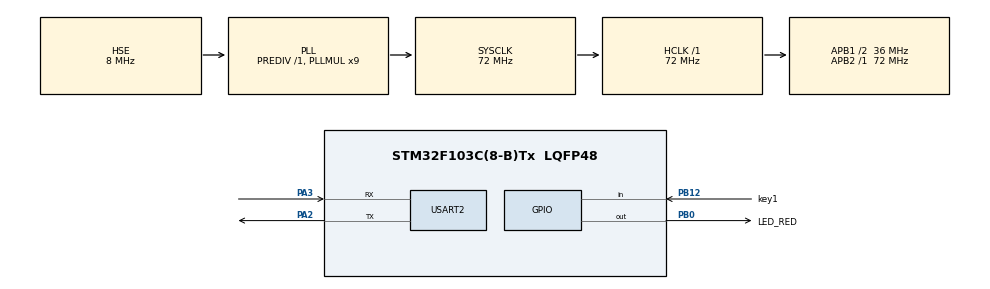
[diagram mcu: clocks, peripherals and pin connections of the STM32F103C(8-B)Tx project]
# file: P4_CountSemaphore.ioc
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FREERTOS.BinarySemaphores01=SerialSem,Dynamic,NULL,Available
FREERTOS.CountingSemaphores01=LaunchSem,10,Dynamic,NULL,0;CryptoICSem,3,Dynamic,NULL,3
FREERTOS.Tasks01=BtnTask,24,128,StartBtnTask,Default,NULL,Dynamic,NULL,NULL;LaunchTask,8,128,StartLaunchTask,Default,NULL,Dynamic,NULL,NULL;myTask03,8,128,StartTask03,Default,NULL,Dynamic,NULL,NULL;myTask04,8,128,StartTask04,Default,NULL,Dynamic,NULL,NULL;myTask05,8,128,StartTask05,Default,NULL,Dynamic,NULL,NULL
FREERTOS.configTOTAL_HEAP_SIZE=10240
Mcu.Family=STM32F1
Mcu.Name=STM32F103C(8-B)Tx
Mcu.Package=LQFP48
NVIC.PriorityGroup=NVIC_PRIORITYGROUP_4
NVIC.TIM4_IRQn=true\:15\:0\:false\:false\:true\:false\:false\:true\:true
NVIC.TimeBase=TIM4_IRQn
NVIC.TimeBaseIP=TIM4
PA13.Mode=Serial_Wire
PA13.Signal=SYS_JTMS-SWDIO
PA14.Mode=Serial_Wire
PA14.Signal=SYS_JTCK-SWCLK
PA2.Mode=Asynchronous
PA2.Signal=USART2_TX
PA3.Mode=Asynchronous
PA3.Signal=USART2_RX
PB0.GPIO_Label=LED_RED
PB0.Signal=GPIO_Output
PB12.GPIO_Label=key1
PB12.Signal=GPIO_Input
PD0-OSC_IN.Mode=HSE-External-Oscillator
PD0-OSC_IN.Signal=RCC_OSC_IN
PD1-OSC_OUT.Mode=HSE-External-Oscillator
PD1-OSC_OUT.Signal=RCC_OSC_OUT
ProjectManager.HeapSize=0x200
ProjectManager.StackSize=0x400
ProjectManager.TargetToolchain=CMake
RCC.AHBFreq_Value=72000000
RCC.APB1CLKDivider=RCC_HCLK_DIV2
RCC.APB1Freq_Value=36000000
RCC.APB1TimFreq_Value=72000000
RCC.APB2Freq_Value=72000000
RCC.APB2TimFreq_Value=72000000
RCC.HCLKFreq_Value=72000000
RCC.PLLMUL=RCC_PLL_MUL9
RCC.PLLSourceVirtual=RCC_PLLSOURCE_HSE
RCC.SYSCLKFreq_VALUE=72000000
RCC.SYSCLKSource=RCC_SYSCLKSOURCE_PLLCLK
RCC.USBFreq_Value=72000000
USART2.VirtualMode=VM_ASYNC
VP_FREERTOS_VS_CMSIS_V2.Mode=CMSIS_V2
VP_SYS_VS_tim4.Mode=TIM4
board=custom

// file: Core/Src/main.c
/* USER CODE BEGIN Header */
/**
  ******************************************************************************
  * @file           : main.c
  * @brief          : Main program body
  ******************************************************************************
  * @attention
  *
  * Copyright (c) 2026 STMicroelectronics.
  * All rights reserved.
  *
  * This software is licensed under terms that can be found in the LICENSE file
  * in the root directory of this software component.
  * If no LICENSE file comes with this software, it is provided AS-IS.
  *
  ******************************************************************************
  */
/* USER CODE END Header */
#include "main.h"
#include "cmsis_os.h"
#include "usart.h"
#include "gpio.h"

void SystemClock_Config(void);
void MX_FREERTOS_Init(void);

int main(void)
{

  /* MCU Configuration--------------------------------------------------------*/

  /* Reset of all peripherals, Initializes the Flash interface and the Systick. */
  HAL_Init();

  /* Configure the system clock */
  SystemClock_Config();

  /* Initialize all configured peripherals */
  MX_GPIO_Init();
  MX_USART2_UART_Init();

  /* Init scheduler */
  osKernelInitialize();  /* Call init function for freertos objects (in cmsis_os2.c) */
  MX_FREERTOS_Init();

  /* Start scheduler */
  osKernelStart();

  /* We should never get here as control is now taken by the scheduler */

  /* Infinite loop */
  while (1)
  {

  }
}

void SystemClock_Config(void)
{
  RCC_OscInitTypeDef RCC_OscInitStruct = {0};
  RCC_ClkInitTypeDef RCC_ClkInitStruct = {0};

  /** Initializes the RCC Oscillators according to the specified parameters
  * in the RCC_OscInitTypeDef structure.
  */
  RCC_OscInitStruct.OscillatorType = RCC_OSCILLATORTYPE_HSE;
  RCC_OscInitStruct.HSEState = RCC_HSE_ON;
  RCC_OscInitStruct.HSEPredivValue = RCC_HSE_PREDIV_DIV1;
  RCC_OscInitStruct.HSIState = RCC_HSI_ON;
  RCC_OscInitStruct.PLL.PLLState = RCC_PLL_ON;
  RCC_OscInitStruct.PLL.PLLSource = RCC_PLLSOURCE_HSE;
  RCC_OscInitStruct.PLL.PLLMUL = RCC_PLL_MUL9;
  if (HAL_RCC_OscConfig(&RCC_OscInitStruct) != HAL_OK)
  {
    Error_Handler();
  }

  /** Initializes the CPU, AHB and APB buses clocks
  */
  RCC_ClkInitStruct.ClockType = RCC_CLOCKTYPE_HCLK|RCC_CLOCKTYPE_SYSCLK
                              |RCC_CLOCKTYPE_PCLK1|RCC_CLOCKTYPE_PCLK2;
  RCC_ClkInitStruct.SYSCLKSource = RCC_SYSCLKSOURCE_PLLCLK;
  RCC_ClkInitStruct.AHBCLKDivider = RCC_SYSCLK_DIV1;
  RCC_ClkInitStruct.APB1CLKDivider = RCC_HCLK_DIV2;
  RCC_ClkInitStruct.APB2CLKDivider = RCC_HCLK_DIV1;

  if (HAL_RCC_ClockConfig(&RCC_ClkInitStruct, FLASH_LATENCY_2) != HAL_OK)
  {
    Error_Handler();
  }
}

void HAL_TIM_PeriodElapsedCallback(TIM_HandleTypeDef *htim)
{
  if (htim->Instance == TIM4)
  {
    HAL_IncTick();
  }
}

void Error_Handler(void)
{
  __disable_irq();
  while (1)
  {
  }
}

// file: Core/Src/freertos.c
/* USER CODE BEGIN Header */
/**
  ******************************************************************************
  * File Name          : freertos.c
  * Description        : Code for freertos applications
  ******************************************************************************
  * @attention
  *
  * Copyright (c) 2026 STMicroelectronics.
  * All rights reserved.
  *
  * This software is licensed under terms that can be found in the LICENSE file
  * in the root directory of this software component.
  * If no LICENSE file comes with this software, it is provided AS-IS.
  *
  ******************************************************************************
  */
/* USER CODE END Header */

#include "FreeRTOS.h"
#include "task.h"
#include "main.h"
#include "cmsis_os.h"

/* USER CODE BEGIN Includes */
#include <stdio.h>
#include <string.h>
#include "usart.h"
/* USER CODE END Includes */

/* Definitions for BtnTask */
osThreadId_t BtnTaskHandle;
const osThreadAttr_t BtnTask_attributes = {
  .name = "BtnTask",
  .stack_size = 128 * 4,
  .priority = (osPriority_t) osPriorityNormal,
};
/* Definitions for LaunchTask */
osThreadId_t LaunchTaskHandle;
const osThreadAttr_t LaunchTask_attributes = {
  .name = "LaunchTask",
  .stack_size = 128 * 4,
  .priority = (osPriority_t) osPriorityLow,
};
/* Definitions for myTask03 */
osThreadId_t myTask03Handle;
const osThreadAttr_t myTask03_attributes = {
  .name = "myTask03",
  .stack_size = 128 * 4,
  .priority = (osPriority_t) osPriorityLow,
};
/* Definitions for myTask04 */
osThreadId_t myTask04Handle;
const osThreadAttr_t myTask04_attributes = {
  .name = "myTask04",
  .stack_size = 128 * 4,
  .priority = (osPriority_t) osPriorityLow,
};
/* Definitions for myTask05 */
osThreadId_t myTask05Handle;
const osThreadAttr_t myTask05_attributes = {
  .name = "myTask05",
  .stack_size = 128 * 4,
  .priority = (osPriority_t) osPriorityLow,
};
/* Definitions for SerialSem */
osSemaphoreId_t SerialSemHandle;
const osSemaphoreAttr_t SerialSem_attributes = {
  .name = "SerialSem"
};
/* Definitions for LaunchSem */
osSemaphoreId_t LaunchSemHandle;
const osSemaphoreAttr_t LaunchSem_attributes = {
  .name = "LaunchSem"
};
/* Definitions for CryptoICSem */
osSemaphoreId_t CryptoICSemHandle;
const osSemaphoreAttr_t CryptoICSem_attributes = {
  .name = "CryptoICSem"
};

void StartBtnTask(void *argument);
void StartLaunchTask(void *argument);
void StartTask03(void *argument);
void StartTask04(void *argument);
void StartTask05(void *argument);

void MX_FREERTOS_Init(void); /* (MISRA C 2004 rule 8.1) */

void MX_FREERTOS_Init(void) {

  /* Create the semaphores(s) */
  /* creation of SerialSem */
  SerialSemHandle = osSemaphoreNew(1, 1, &SerialSem_attributes);

  /* creation of LaunchSem */
  LaunchSemHandle = osSemaphoreNew(10, 0, &LaunchSem_attributes);

  /* creation of CryptoICSem */
  CryptoICSemHandle = osSemaphoreNew(3, 3, &CryptoICSem_attributes);

  /* Create the thread(s) */
  /* creation of BtnTask */
  BtnTaskHandle = osThreadNew(StartBtnTask, NULL, &BtnTask_attributes);

  /* creation of LaunchTask */
  LaunchTaskHandle = osThreadNew(StartLaunchTask, NULL, &LaunchTask_attributes);

  /* creation of myTask03 */
  myTask03Handle = osThreadNew(StartTask03, NULL, &myTask03_attributes);

  /* creation of myTask04 */
  myTask04Handle = osThreadNew(StartTask04, NULL, &myTask04_attributes);

  /* creation of myTask05 */
  myTask05Handle = osThreadNew(StartTask05, NULL, &myTask05_attributes);

}

void StartBtnTask(void *argument)
{
  /* USER CODE BEGIN StartBtnTask */
  int count = 0;
  char msg[50];
  /* Infinite loop */
  for(;;)
  {
    if (HAL_GPIO_ReadPin(key1_GPIO_Port, key1_Pin) == GPIO_PIN_RESET) {
      osDelay(10);
      if (HAL_GPIO_ReadPin(key1_GPIO_Port, key1_Pin) == GPIO_PIN_RESET) {
        count++;
        sprintf(msg, "按键 %d 次", count);
        HAL_UART_Transmit(&huart2, (uint8_t *)msg, strlen(msg), 1000);

        osSemaphoreRelease(LaunchSemHandle);

        while (HAL_GPIO_ReadPin(key1_GPIO_Port, key1_Pin) == GPIO_PIN_RESET) {}
      }
    }
    osDelay(10);
  }
  /* USER CODE END StartBtnTask */
}

void StartLaunchTask(void *argument)
{
  /* USER CODE BEGIN StartLaunchTask */
  int count = 0;
  char msg[50];
  /* Infinite loop */
  for(;;)
  {
    osSemaphoreAcquire(LaunchSemHandle, osWaitForever);

    count++;
    sprintf(msg, "开始发射第 %d 枚导弹", count);
    HAL_UART_Transmit(&huart2, (uint8_t *)msg, strlen(msg), 1000);

    osSemaphoreAcquire(CryptoICSemHandle, osWaitForever);

    sprintf(msg, "导弹发射任务获取到加密IC");
    osSemaphoreAcquire(SerialSemHandle, osWaitForever);
    HAL_UART_Transmit(&huart2, (uint8_t *)msg, strlen(msg), 1000);
    osSemaphoreRelease(SerialSemHandle);

    HAL_GPIO_WritePin(LED_RED_GPIO_Port, LED_RED_Pin, GPIO_PIN_SET);
    osDelay(2000);
    HAL_GPIO_WritePin(LED_RED_GPIO_Port, LED_RED_Pin, GPIO_PIN_RESET);

    osSemaphoreRelease(CryptoICSemHandle);
  }
  /* USER CODE END StartLaunchTask */
}

void StartTask03(void *argument)
{
  /* USER CODE BEGIN StartTask03 */
  uint32_t count = 0;
  char msg[50];
  /* Infinite loop */
  for(;;)
  {
    osDelay(1000);
    osSemaphoreAcquire(CryptoICSemHandle, osWaitForever);

    count = osSemaphoreGetCount(CryptoICSemHandle);
    sprintf(msg, "任务03获取到加密IC ( %ld -> %ld )",count + 1, count);
    HAL_UART_Transmit(&huart2, (uint8_t *)msg, strlen(msg), 1000);

    osDelay(10000);

    osSemaphoreRelease(CryptoICSemHandle);

    count = osSemaphoreGetCount(CryptoICSemHandle);
    sprintf(msg, "任务03释放到加密IC ( %ld -> %ld )",count - 1, count);
    osSemaphoreAcquire(SerialSemHandle, osWaitForever);
    HAL_UART_Transmit(&huart2, (uint8_t *)msg, strlen(msg), 1000);
    osSemaphoreRelease(SerialSemHandle);
  }
  /* USER CODE END StartTask03 */
}

void StartTask04(void *argument)
{
  /* USER CODE BEGIN StartTask04 */
  uint32_t count = 0;
  char msg[50];
  /* Infinite loop */
  for(;;)
  {
    osDelay(1500);
    osSemaphoreAcquire(CryptoICSemHandle, osWaitForever);

    count = osSemaphoreGetCount(CryptoICSemHandle);
    sprintf(msg, "任务04获取到加密IC ( %ld -> %ld )",count + 1, count);
    HAL_UART_Transmit(&huart2, (uint8_t *)msg, strlen(msg), 1000);

    osDelay(10000);

    osSemaphoreRelease(CryptoICSemHandle);

    count = osSemaphoreGetCount(CryptoICSemHandle);
    sprintf(msg, "任务04释放到加密IC ( %ld -> %ld )",count - 1, count);
    osSemaphoreAcquire(SerialSemHandle, osWaitForever);
    HAL_UART_Transmit(&huart2, (uint8_t *)msg, strlen(msg), 1000);
    osSemaphoreRelease(SerialSemHandle);

  }
  /* USER CODE END StartTask04 */
}

void StartTask05(void *argument)
{
  /* USER CODE BEGIN StartTask05 */
  uint32_t count = 0;
  char msg[50];
  /* Infinite loop */
  for(;;)
  {
    osDelay(2000);
    osSemaphoreAcquire(CryptoICSemHandle, osWaitForever);

    count = osSemaphoreGetCount(CryptoICSemHandle);
    sprintf(msg, "任务05获取到加密IC ( %ld -> %ld )",count + 1, count);
    HAL_UART_Transmit(&huart2, (uint8_t *)msg, strlen(msg), 1000);

    osDelay(10000);

    osSemaphoreRelease(CryptoICSemHandle);

    count = osSemaphoreGetCount(CryptoICSemHandle);
    sprintf(msg, "任务05释放到加密IC ( %ld -> %ld )",count - 1, count);
    osSemaphoreAcquire(SerialSemHandle, osWaitForever);
    HAL_UART_Transmit(&huart2, (uint8_t *)msg, strlen(msg), 1000);
    osSemaphoreRelease(SerialSemHandle);
  }
  /* USER CODE END StartTask05 */
}
